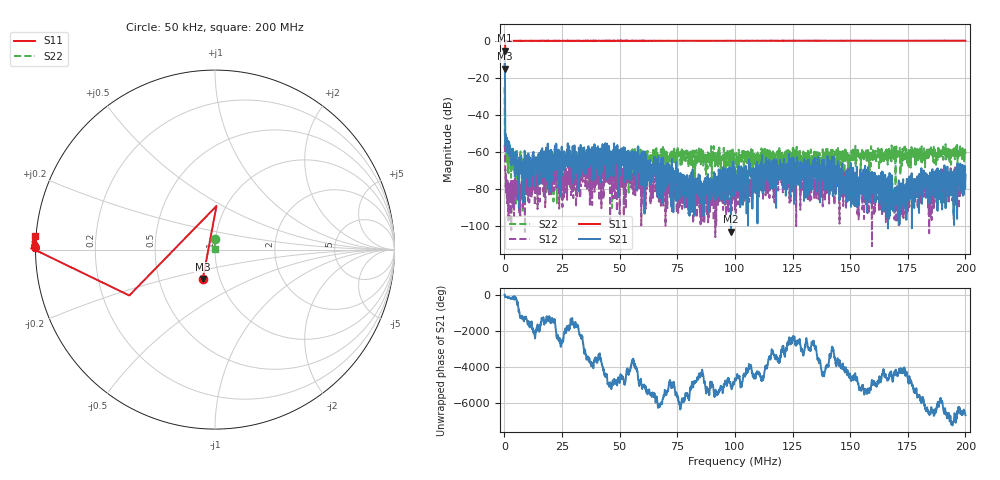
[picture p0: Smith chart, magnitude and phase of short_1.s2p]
! 26-Feb-26 2:14:08 PM
! E:\VNA_MEASUREMENTS\CAL_ENDS\SHORT_1.S2P
! CHANNEL.1
! TR.MEASUREMENT
! CORRECTED.DATA
# GHZ S RI R 50.0
! FREQ.GHZ  S11RE  S11IM  S21RE  S21IM  S12RE  S12IM  S22RE  S22IM
!; PortSelection: Port_12
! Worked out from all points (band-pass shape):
!   2000 points, 50 kHz to 200 MHz, reference 50 ohm
!   highest |S21| = -5.25 dB at 50 kHz (marker M1); lowest = -102.9 dB at 98.27 MHz (marker M2)
!   |S21| within 3 dB of the highest: start of sweep to 76.9 kHz
!   lowest |S11| = -15.1 dB at 50 kHz (marker M3), VSWR 1.43, Z = 41.5 - j14 ohm
!   |S11| at or under -10 dB: start of sweep to 182.8 kHz
!   |S22| runs from -92.5 to -25.0 dB; largest |S21 - S12| = 0.55
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5e-05  -0.0676 -0.1629  0.5435 0.0588  0.00105 -0.00118  -0.00271 0.0564
0.001350325  -0.995 0.00955  -0.00168 -0.00114  -8.32e-05 7.52e-05  -0.000722 0.000185
0.005451351  -0.9955 0.00565  -0.000338 0.000107  1.42e-05 -6.91e-05  0.000563 0.00052
0.02025505  -1.002 0.00809  0.000531 -0.000704  -6.72e-05 -2.82e-05  0.000187 0.000214
0.032058  -1.006 0.00335  0.00045 -0.000498  3.17e-05 0.000151  0.000814 -0.000365
0.03345835  -1.007 0.0217  -0.00074 -0.000575  -0.000218 0.000462  0.000645 0.000184
0.03875968  -0.999 0.00111  -0.000528 -0.000289  0.000291 -0.000175  0.000226 7.63e-05
0.04316078  -1.008 0.0223  0.000777 0.000385  -0.000167 0.000336  0.000725 3.67e-05
0.04646161  -0.9918 0.0206  -0.000255 -0.000523  -3.65e-05 0.000179  0.000574 0.00033
0.05066266  -1.011 0.022  0.00121 -0.000304  -7.85e-05 0.000125  0.000967 -2.3e-06
0.05386346  -1 0.0223  -0.00048 -0.000475  0.000255 -0.000134  -5.51e-05 5.95e-05
0.06676668  -1.004 0.0168  3e-06 -5.85e-05  2e-05 0.000233  0.000347 0.000523
0.08577144  -1.003 0.029  -8.91e-05 3.16e-05  6.6e-06 9.42e-05  0.00032 0.000603
0.09827456  -1.005 0.0327  -2e-07 -7.2e-06  4.4e-05 9.73e-05  0.000669 0.000571
0.100075  -1.003 0.0324  0.000318 0.00011  2.65e-05 2.6e-06  2.48e-05 0.000512
0.1191798  -1.003 0.0367  -0.000198 1.2e-06  0.000117 0.000224  0.000837 0.000597
0.1333833  -1.009 0.0455  -0.000469 0.000106  -7.64e-05 0.000134  0.000144 0.000407
0.1436859  -1.005 0.051  -2.45e-05 6.9e-05  7.42e-05 0.000163  0.000404 0.00043
0.1531883  -1.007 0.0561  -2.28e-05 -5.69e-05  -6.05e-05 -0.000157  0.000724 0.000535
0.1666917  -1.004 0.058  0.000109 -6.58e-05  -4.52e-05 -5.2e-05  0.000634 0.000571
0.1940985  -1.008 0.0702  -0.000142 6.01e-05  6.67e-05 -0.000222  0.0005 0.000738
0.2  -1.006 0.0744  -0.000219 0.000115  -0.000199 -0.000273  0.000512 0.000714
